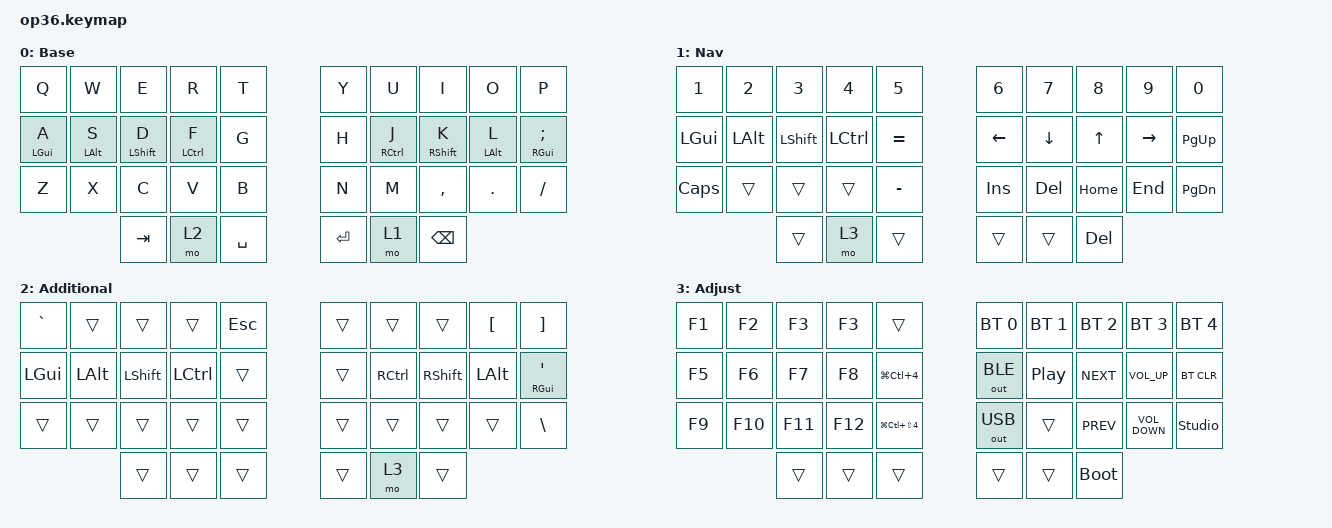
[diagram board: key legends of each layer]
#include "keys_ru.h"
#include <behaviors.dtsi>
#include <dt-bindings/zmk/bt.h>
#include <dt-bindings/zmk/keys.h>
#include <dt-bindings/zmk/outputs.h>

&mt {
    quick-tap-ms = <200>;
    flavor = "tap-preferred";
    require-prior-idle-ms = <125>;
};

/ {
    behaviors {
        hml: home_row_mod_left {
            compatible = "zmk,behavior-hold-tap";
            #binding-cells = <2>;
            flavor = "balanced";
            require-prior-idle-ms = <150>;
            tapping-term-ms = <280>;
            quick-tap-ms = <175>;
            bindings = <&kp>, <&kp>;

            hold-trigger-key-positions = <5 6 7 8 9 15 16 17 18 19 25 26 27 28 29 33 34 35>;
            hold-trigger-on-release;
        };

        hmr: home_row_mod_right {
            compatible = "zmk,behavior-hold-tap";
            #binding-cells = <2>;
            flavor = "balanced";
            require-prior-idle-ms = <150>;
            tapping-term-ms = <280>;
            quick-tap-ms = <175>;
            bindings = <&kp>, <&kp>;

            hold-trigger-key-positions = <0 1 2 3 4 10 11 12 13 14 20 21 22 23 24 30 31 32>;
            hold-trigger-on-release;
        };
    };

    combos {
        compatible = "zmk,combos";

        kha {
            bindings = <&kp LBKT>;
            key-positions = <6 7>;
        };

        hrdsgn {
            bindings = <&kp RBKT>;
            key-positions = <7 8>;
        };
    };

    keymap {
        compatible = "zmk,keymap";

        base {
            bindings = <
  &kp Q        &kp W        &kp E         &kp R         &kp T                          &kp Y  &kp U          &kp I         &kp O        &kp P
  &hml LGUI A  &hml LALT S  &hml LSHFT D  &hml LCTRL F  &kp G                          &kp H  &hmr RCTRL J   &hmr RSHFT K  &hmr LALT L  &hmr RGUI SEMICOLON
  &kp Z        &kp X        &kp C         &kp V         &kp B                          &kp N  &kp M          &kp COMMA     &kp DOT      &kp FSLH
                                          &kp TAB       &mo 2  &kp SPACE    &kp ENTER  &mo 1  &kp BACKSPACE
            >;

            display-name = "Base";
        };

        nav {
            bindings = <
  &kp N1    &kp N2    &kp N3     &kp N4     &kp N5                       &kp N6      &kp N7      &kp N8    &kp N9     &kp N0
  &kp LGUI  &kp LALT  &kp LSHFT  &kp LCTRL  &kp EQUAL                    &kp LEFT    &kp DOWN    &kp UP    &kp RIGHT  &kp PAGE_UP
  &kp CAPS  &trans    &trans     &trans     &kp MINUS                    &kp INSERT  &kp DELETE  &kp HOME  &kp END    &kp PAGE_DOWN
                                 &trans     &mo 3      &trans    &trans  &trans      &kp DELETE
            >;

            display-name = "Nav";
        };

        add {
            bindings = <
  &kp GRAVE  &trans    &trans     &trans     &kp ESC                    &trans  &trans     &trans     &kp LEFT_BRACKET  &kp RIGHT_BRACKET
  &kp LGUI   &kp LALT  &kp LSHFT  &kp LCTRL  &trans                     &trans  &kp RCTRL  &kp RSHFT  &kp LALT          &hmr RGUI SQT
  &trans     &trans    &trans     &trans     &trans                     &trans  &trans     &trans     &trans            &kp BSLH
                                  &trans     &trans   &trans    &trans  &mo 3   &trans
            >;

            display-name = "Additional";
            label = "Additional";
        };

        ext {
            bindings = <
  &kp F1  &kp F2   &kp F3   &kp F3   &trans                                      &bt BT_SEL 0  &bt BT_SEL 1  &bt BT_SEL 2  &bt BT_SEL 3       &bt BT_SEL 4
  &kp F5  &kp F6   &kp F7   &kp F8   &kp LG(LC(NUMBER_4))                        &out OUT_BLE  &kp C_PP      &kp C_NEXT    &kp C_VOLUME_UP    &bt BT_CLR
  &kp F9  &kp F10  &kp F11  &kp F12  &kp LG(LC(LS(NUMBER_4)))                    &out OUT_USB  &trans        &kp C_PREV    &kp C_VOLUME_DOWN  &studio_unlock
                            &trans   &trans                    &trans    &trans  &trans        &bootloader
            >;

            display-name = "Adjust";
            label = "Extra";
        };
    };
};
